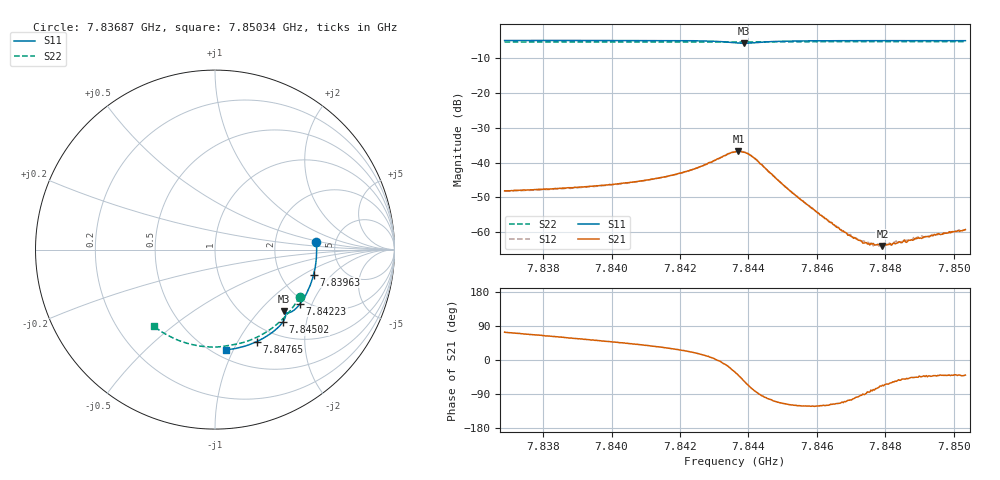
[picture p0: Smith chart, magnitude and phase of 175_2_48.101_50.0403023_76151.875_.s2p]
#  HZ  S  RI  R  50.00
! Rohde & Schwarz Vector Network Analyzer
! Rohde-Schwarz,ZNB20-2Port,1311601062101988,3.16
! Created: UTC 12/23/2023, 3:52:11 AM
! freq[Hz]  re:S11  im:S11  re:S21  im:S21  re:S12  im:S12  re:S22  im:S22
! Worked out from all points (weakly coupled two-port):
!   401 points, 7.83687 GHz to 7.85034 GHz, reference 50 ohm
!   highest |S21| = -36.72 dB at 7.84371 GHz (marker M1); lowest = -63.9 dB at 7.84792 GHz (marker M2)
!   lowest |S11| = -5.7 dB at 7.84388 GHz (marker M3), VSWR 3.14, Z = 73.9 - j69.4 ohm
!   |S11| at or under -10 dB: nowhere
!   |S22| runs from -5.4 to -5.3 dB; largest |S21 - S12| = 0.00033
!   S11 on the Smith chart (normalised r, x): 7.83687 GHz: 3.54, +0.46; 7.83963 GHz: 3.06, -1.25; 7.84223 GHz: 1.87, -1.64; 7.84502 GHz: 1.26, -1.47; 7.84765 GHz: 0.80, -1.20; 7.85034 GHz: 0.57, -0.93
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7.836874e9  0.5644 0.0441  0.00112 0.00378  0.00118 0.00372  0.4713 -0.2625
7.839129e9  0.557 -0.1055  0.00253 0.00369  0.00252 0.00362  0.3761 -0.3879
7.839634e9  0.5496 -0.1388  0.00292 0.00364  0.0029 0.00358  0.35 -0.4118
7.841385e9  0.5072 -0.2502  0.00497 0.00344  0.0049 0.00342  0.2486 -0.4807
7.842226e9  0.4751 -0.3012  0.00702 0.00293  0.00693 0.00294  0.1947 -0.5051
7.843102e9  0.4256 -0.3469  0.0114 -0.000232  0.0113 -8.44e-05  0.1358 -0.5231
7.843607e9  0.3903 -0.3509  0.0122 -0.0075  0.0121 -0.0076  0.1019 -0.5294
7.843708e9  0.3865 -0.3481  0.011 -0.00953  0.011 -0.00945  0.0956 -0.5305
7.843876e9  0.3857 -0.3441  0.00784 -0.0116  0.00804 -0.0116  0.0847 -0.5323
7.844011e9  0.3885 -0.3444  0.00494 -0.0122  0.00505 -0.0122  0.0764 -0.5339
7.844213e9  0.3931 -0.3517  0.00132 -0.0112  0.00124 -0.011  0.0632 -0.5366
7.84502e9  0.377 -0.4046  -0.00201 -0.00431  -0.002 -0.00435  0.00695 -0.5427
7.845862e9  0.3354 -0.4484  -0.00115 -0.00186  -0.00115 -0.00192  -0.0526 -0.5409
7.8463e9  0.3111 -0.4672  -0.000745 -0.00132  -0.00071 -0.00129  -0.0831 -0.5374
7.846973e9  0.2724 -0.4919  -0.000234 -0.000863  -0.000229 -0.000902  -0.1297 -0.5287
7.847411e9  0.2462 -0.506  -4.24e-06 -0.000708  1.09e-06 -0.000731  -0.1593 -0.5206
7.847646e9  0.2319 -0.5129  0.000144 -0.000677  9.59e-05 -0.000631  -0.1752 -0.5157
7.847916e9  0.2153 -0.5202  0.000255 -0.000586  0.000237 -0.000626  -0.1929 -0.5096
7.848118e9  0.2027 -0.5253  0.000321 -0.000594  0.000337 -0.000616  -0.2062 -0.5045
7.848488e9  0.1795 -0.5335  0.000455 -0.000545  0.00049 -0.000556  -0.2301 -0.4943
7.84943e9  0.1188 -0.5501  0.000704 -0.000615  0.000725 -0.000618  -0.2884 -0.4632
7.850339e9  0.059 -0.5592  0.00084 -0.000702  0.000817 -0.000696  -0.3406 -0.427
